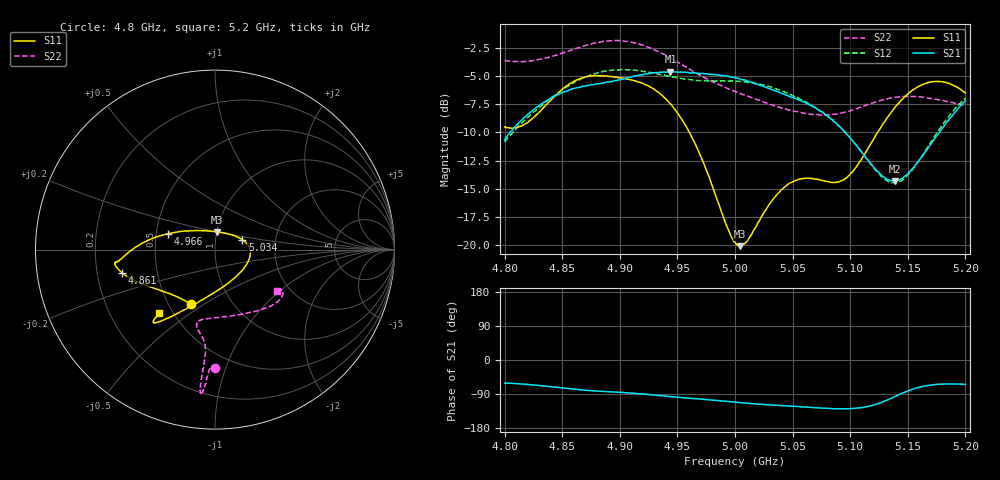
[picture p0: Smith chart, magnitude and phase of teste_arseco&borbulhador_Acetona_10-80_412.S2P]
! Network Analyzer HP8722D
! Hewlett-Packard
! Data name: Linha & Wilkinson
! Saver's name: Rodrigo Anjos
! Comments: Teste da utilização de aquisição
! continua pelo VNA HP8722D
! Time and date: 17/4/2025 17:47
!  Frequency  S11  S21  S12  S22
# HZ  S  MA R 50
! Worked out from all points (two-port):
!   401 points, 4.8 GHz to 5.2 GHz, reference 50 ohm
!   highest |S21| = -4.63 dB at 4.944 GHz (marker M1); lowest = -14.3 dB at 5.139 GHz (marker M2)
!   |S21| within 3 dB of the highest: 4.83 GHz to 5.066 GHz (236.1 MHz wide, 4.77 % of centre); 5.19591 GHz to end of sweep
!   lowest |S11| = -20.1 dB at 5.004 GHz (marker M3), VSWR 1.22, Z = 50 + j9.97 ohm
!   |S11| at or under -10 dB: 4.96 GHz to 5.124 GHz (163.3 MHz wide, 3.24 % of centre)
!   |S22| runs from -8.5 to -1.9 dB; largest |S21 - S12| = 0.88
!   S11 on the Smith chart (normalised r, x): 4.8 GHz: 0.64, -0.44; 4.861 GHz: 0.31, -0.11; 4.966 GHz: 0.58, +0.11; 5.034 GHz: 1.35, +0.15; 5.2 GHz: 0.42, -0.39
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4.8e9  0.3338 -113.8  0.2935 -61.0  0.2875 -175.1  0.6579 -90.2
4.819e9  0.3477 -133.9  0.3755 -64.3  0.3634 -173.9  0.6525 -91.7
4.861e9  0.5357 -166.1  0.4958 -77.3  0.5278 -177.0  0.7392 -94.0
4.867e9  0.55 -168.4  0.5035 -78.7  0.548 -178.2  0.7574 -94.2
4.9e9  0.5517 -173.0  0.5403 -85.4  0.598 175.4  0.8047 -95.6
4.934e9  0.4742 -178.9  0.5818 -93.7  0.5726 171.7  0.7163 -96.0
4.944e9  0.4225 176.4  0.5865 -96.6  0.5585 171.8  0.674 -95.8
4.966e9  0.277 161.5  0.579 -102.2  0.5375 173.6  0.5802 -95.3
5e9  0.1032 98.3  0.5517 -111.3  0.5337 175.9  0.4805 -99.4
5.004e9  0.09922 84.3  0.5461 -112.4  0.5318 176.0  0.4713 -100.3
5.012e9  0.1071 58.8  0.5305 -114.5  0.5247 175.8  0.4551 -102.0
5.034e9  0.1625 19.9  0.4845 -119.2  0.497 174.7  0.415 -103.6
5.049e9  0.1896 4.7  0.4514 -121.8  0.4636 174.1  0.3937 -99.9
5.067e9  0.1976 -14.5  0.4134 -125.0  0.415 173.5  0.3801 -90.5
5.086e9  0.19 -44.9  0.3533 -128.4  0.3529 173.6  0.3806 -76.1
5.097e9  0.1993 -67.5  0.3106 -128.7  0.311 174.6  0.3904 -67.0
5.134e9  0.3785 -117.3  0.1943 -103.2  0.1904 -156.0  0.4474 -43.0
5.139e9  0.4087 -120.2  0.1924 -96.1  0.189 -148.2  0.4519 -40.8
5.151e9  0.4717 -125.3  0.2103 -80.6  0.2073 -130.1  0.4564 -36.5
5.17e9  0.5285 -129.5  0.2804 -66.0  0.2859 -112.2  0.4471 -32.0
5.184e9  0.5241 -130.8  0.3522 -63.1  0.3639 -107.3  0.4336 -31.3
5.2e9  0.4716 -131.2  0.4366 -64.6  0.4483 -106.7  0.4163 -33.5
